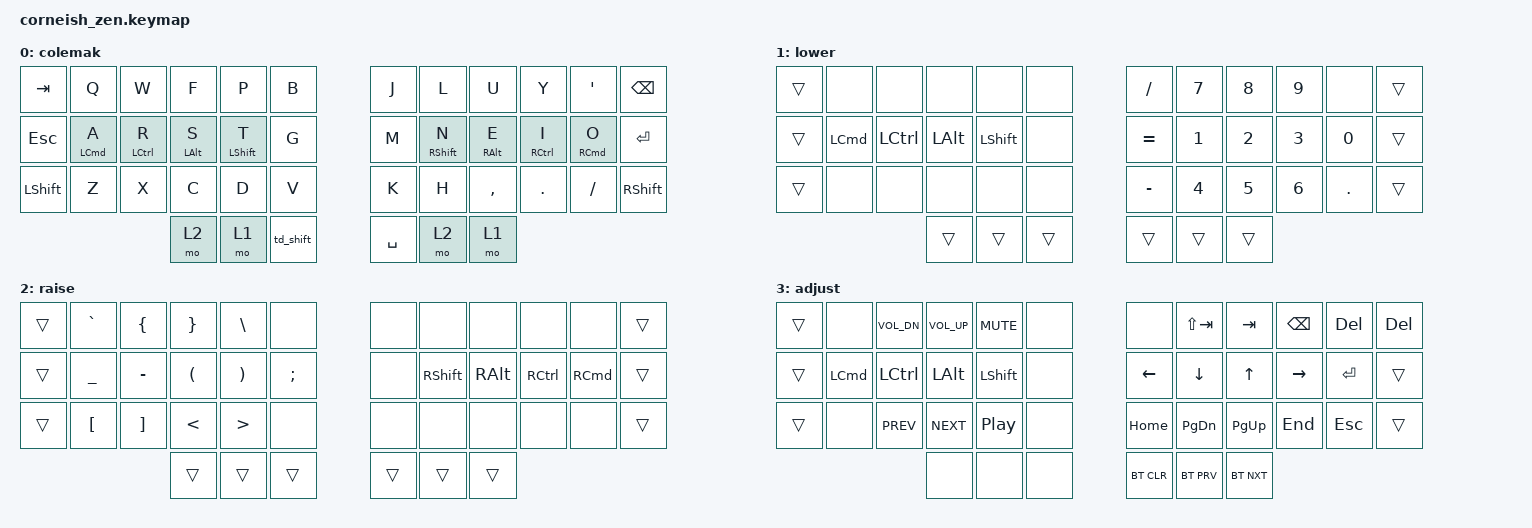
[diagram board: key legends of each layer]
#include <behaviors.dtsi>
#include <dt-bindings/zmk/keys.h>
#include <dt-bindings/zmk/bt.h>

/ {
    behaviors {
        hm: homerow_mods {
            compatible = "zmk,behavior-hold-tap";
            #binding-cells = <2>;
            tapping-term-ms = <200>;
            quick-tap-ms = <100>;
            require-prior-idle-ms = <125>;
            flavor = "balanced";
            bindings = <&kp>, <&kp>;
        };

        td_shift: tap_dance_shift {
            compatible = "zmk,behavior-tap-dance";
            #binding-cells = <0>;
            tapping-term-ms = <200>;
            bindings = <&sk LSHFT>, <&caps_word>;
        };
    };

    conditional_layers {
        compatible = "zmk,conditional-layers";
        tri_layer {
            if-layers = <1 2>;
            then-layer = <3>;
        };
    };

    // Key positions for Corneish Zen (6-col corne layout):
    //  0  1  2  3  4  5    6  7  8  9  10 11
    // 12 13 14 15 16 17   18 19 20 21 22 23
    // 24 25 26 27 28 29   30 31 32 33 34 35
    //          36 37 38   39 40 41
    combos {
        compatible = "zmk,combos";

        // Left homerow
        combo_esc {
            timeout-ms = <25>;
            key-positions = <14 15>;
            bindings = <&kp ESC>;
        };
        combo_bspc {
            timeout-ms = <25>;
            key-positions = <15 16>;
            bindings = <&kp BSPC>;
        };

        // Right homerow
        combo_tab {
            timeout-ms = <25>;
            key-positions = <19 20>;
            bindings = <&kp TAB>;
        };
        combo_enter {
            timeout-ms = <25>;
            key-positions = <20 21>;
            bindings = <&kp RET>;
        };

        // Right bottom row — arrow keys
        combo_left {
            timeout-ms = <25>;
            key-positions = <30 31>;
            bindings = <&kp LEFT>;
        };
        combo_down {
            timeout-ms = <25>;
            key-positions = <31 32>;
            bindings = <&kp DOWN>;
        };
        combo_up {
            timeout-ms = <25>;
            key-positions = <32 33>;
            bindings = <&kp UP>;
        };
        combo_right {
            timeout-ms = <25>;
            key-positions = <33 34>;
            bindings = <&kp RIGHT>;
        };

        // Left bottom row — word navigation
        combo_word_left {
            timeout-ms = <25>;
            key-positions = <25 26>;
            bindings = <&kp LC(LEFT)>;
        };
        combo_word_right {
            timeout-ms = <25>;
            key-positions = <26 27>;
            bindings = <&kp LC(RIGHT)>;
        };
    };

    keymap {
        compatible = "zmk,keymap";

        default_layer {
            label = "colemak";
            bindings = <
   &kp TAB   &kp Q       &kp W       &kp F       &kp P         &kp B      &kp J      &kp L        &kp U       &kp Y       &kp QUOT    &kp BSPC
   &kp ESC   &hm LCMD A  &hm LCTRL R &hm LALT S  &hm LSHFT T   &kp G      &kp M      &hm RSHFT N  &hm RALT E  &hm RCTRL I &hm RCMD O  &kp RET
   &kp LSHFT &kp Z       &kp X       &kp C       &kp D         &kp V      &kp K      &kp H        &kp COMMA   &kp DOT     &kp FSLH    &kp RSHFT
                                     &mo 2       &mo 1         &td_shift  &kp SPACE  &mo 2        &mo 1
            >;
        };

        lower_layer {
            label = "lower";
            bindings = <
   &trans &none     &none     &none     &none      &none    &kp FSLH  &kp N7 &kp N8 &kp N9 &none   &trans
   &trans &kp LCMD  &kp LCTRL &kp LALT  &kp LSHFT  &none    &kp EQUAL &kp N1 &kp N2 &kp N3 &kp N0  &trans
   &trans &none     &none     &none     &none      &none    &kp MINUS &kp N4 &kp N5 &kp N6 &kp DOT &trans
                              &trans    &trans     &trans   &trans    &trans &trans
            >;
        };

        raise_layer {
            label = "raise";
            bindings = <
   &trans &kp GRAVE &kp LBRC  &kp RBRC &kp BSLH  &none      &none  &none      &none     &none     &none     &trans
   &trans &kp UNDER &kp MINUS &kp LPAR &kp RPAR  &kp SEMI   &none  &kp RSHFT  &kp RALT  &kp RCTRL &kp RCMD  &trans
   &trans &kp LBKT  &kp RBKT  &kp LT   &kp GT    &none      &none  &none      &none     &none     &none     &trans
                              &trans   &trans    &trans     &trans &trans     &trans
            >;
        };

        adjust_layer {
            label = "adjust";
            bindings = <
   &trans &none        &kp C_VOL_DN &kp C_VOL_UP &kp C_MUTE &none   &none      &kp LS(TAB) &kp TAB     &kp BSPC  &kp DEL  &kp DEL
   &trans &kp LCMD     &kp LCTRL    &kp LALT     &kp LSHFT  &none   &kp LEFT   &kp DOWN    &kp UP      &kp RIGHT &kp RET  &trans
   &trans &none        &kp C_PREV   &kp C_NEXT   &kp C_PP   &none   &kp HOME   &kp PG_DN   &kp PG_UP   &kp END   &kp ESC  &trans
                                    &none        &none      &none   &bt BT_CLR &bt BT_PRV  &bt BT_NXT
            >;
        };
    };
};
